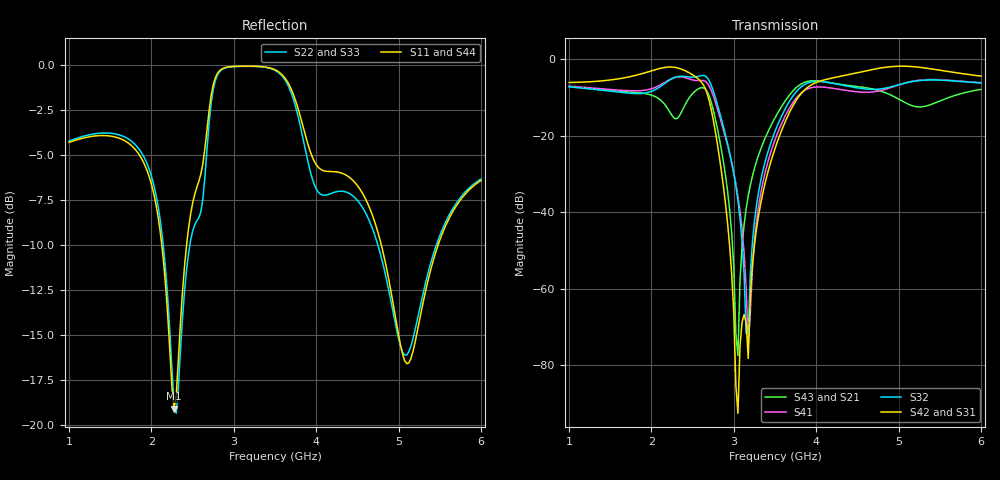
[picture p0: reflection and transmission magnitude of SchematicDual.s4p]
! Created Sat Sep  9 23:06:40 2023
# hz S ma R 50
! 4 Port Network Data from SP1.SP block
! freq  magS11  angS11  magS12  angS12  magS13  angS13  magS14  angS14
!  magS21  angS21  magS22  angS22  magS23  angS23  magS24  angS24
!  magS31  angS31  magS32  angS32  magS33  angS33  magS34  angS34
!  magS41  angS41  magS42  angS42  magS43  angS43  magS44  angS44
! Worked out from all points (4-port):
!   201 points, 1 GHz to 6 GHz, reference 50 ohm
!   strongest paths, dB at 1 GHz, 2.25 GHz, 3.5 GHz, 4.75 GHz, 6 GHz:
!     S42: -6.2, -2.1, -23.4, -2.5, -4.5
!     S31: -6.2, -2.1, -23.4, -2.5, -4.5
!     S32: -7.3, -5.2, -18.9, -7.9, -6.3
!     S41: -7.1, -5.1, -21.1, -8.4, -6.2
!     S43: -7.3, -14.8, -15.4, -8.2, -8.0
!     S21: -7.3, -14.8, -15.4, -8.2, -8.0
!   lowest |S11| = -19.1 dB at 2.275 GHz (marker M1), VSWR 1.25, Z = 58.9 - j8.3 ohm
!   |S11| at or under -10 dB: 2.126 GHz to 2.426 GHz (300.6 MHz wide, 13.2 % of centre); 4.791 GHz to 5.48 GHz (689.7 MHz wide, 13.4 % of centre)
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1e9  0.6094 156.9  0.4334 -60.6  0.4922 -74.2  0.4409 -62.4
     0.4334 -60.6  0.6149 156.8  0.4333 -62.0  0.4922 -74.2
     0.4922 -74.2  0.4333 -62.0  0.6149 156.8  0.4334 -60.6
     0.4409 -62.4  0.4922 -74.2  0.4334 -60.6  0.6094 156.9
2.275e9  0.1111 -38.8  0.1689 -138.5  0.778 136.6  0.5689 -139.8
         0.1689 -138.5  0.1138 -27.0  0.5684 -128.9  0.778 136.6
         0.778 136.6  0.5684 -128.9  0.1138 -27.0  0.1689 -138.5
         0.5689 -139.8  0.778 136.6  0.1689 -138.5  0.1111 -38.8
2.725e9  0.8231 -179.6  0.2736 118.6  0.2206 -42.2  0.3906 103.4
         0.2736 118.6  0.7834 -173.2  0.4558 109.1  0.2206 -42.2
         0.2206 -42.2  0.4558 109.1  0.7834 -173.2  0.2736 118.6
         0.3906 103.4  0.2206 -42.2  0.2736 118.6  0.8231 -179.6
3.025e9  0.991 131.1  0.0002554 79.3  5.481e-05 -92.8  0.0234 45.0
         0.0002554 79.3  0.99 131.0  0.02179 45.7  5.481e-05 -92.8
         5.481e-05 -92.8  0.02179 45.7  0.99 131.0  0.0002554 79.3
         0.0234 45.0  5.481e-05 -92.8  0.0002554 79.3  0.991 131.1
3.175e9  0.9921 116.4  0.01635 22.0  0.0001237 -50.4  0.0001834 42.8
         0.01635 22.0  0.9913 115.4  0.0002655 -4.6  0.0001237 -50.4
         0.0001237 -50.4  0.0002655 -4.6  0.9913 115.4  0.01635 22.0
         0.0001834 42.8  0.0001237 -50.4  0.01635 22.0  0.9921 116.4
3.825e9  0.6947 52.6  0.476 -68.4  0.3604 -94.5  0.3644 -77.2
         0.476 -68.4  0.6487 45.5  0.4376 -79.6  0.3604 -94.5
         0.3604 -94.5  0.4376 -79.6  0.6487 45.5  0.476 -68.4
         0.3644 -77.2  0.3604 -94.5  0.476 -68.4  0.6947 52.6
6e9  0.4775 99.7  0.4001 154.6  0.5972 -12.3  0.4897 100.4
     0.4001 154.6  0.482 101.9  0.4853 100.6  0.5972 -12.3
     0.5972 -12.3  0.4853 100.6  0.482 101.9  0.4001 154.6
     0.4897 100.4  0.5972 -12.3  0.4001 154.6  0.4775 99.7
